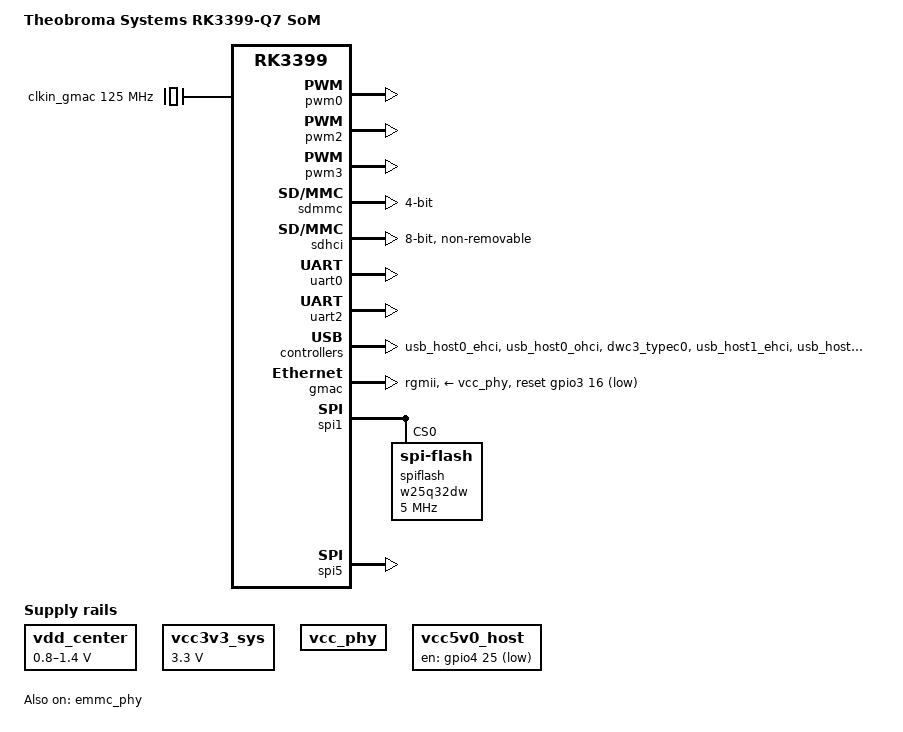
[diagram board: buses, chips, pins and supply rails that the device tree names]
/*
 * (C) Copyright 2017 Theobroma Systems Design und Consulting GmbH
 *
 * SPDX-License-Identifier:     GPL-2.0+	X11
 */

/dts-v1/;
#include <dt-bindings/pwm/pwm.h>
#include "rk3399.dtsi"
#include "rk3399-sdram-ddr3-1333.dtsi"

/ {
	model = "Theobroma Systems RK3399-Q7 SoM";
	compatible = "tsd,puma", "rockchip,rk3399";

	chosen {
		stdout-path = "serial0:115200n8";
		u-boot,spl-boot-order = &spiflash, &sdhci, &sdmmc;
	};

	aliases {
		spi0 = &spi1;
		spi1 = &spi5;
	};

	vdd_center: vdd-center {
		compatible = "pwm-regulator";
		pwms = <&pwm3 0 25000 0>;
		regulator-name = "vdd_center";
		regulator-min-microvolt = <800000>;
		regulator-max-microvolt = <1400000>;
		regulator-init-microvolt = <950000>;
		regulator-always-on;
		regulator-boot-on;
		status = "okay";
	};

	vcc3v3_sys: vcc3v3-sys {
		compatible = "regulator-fixed";
		regulator-name = "vcc3v3_sys";
		regulator-always-on;
		regulator-boot-on;
		regulator-min-microvolt = <3300000>;
		regulator-max-microvolt = <3300000>;
	};

	vcc_phy: vcc-phy-regulator {
		compatible = "regulator-fixed";
		regulator-name = "vcc_phy";
		regulator-always-on;
		regulator-boot-on;
	};

	vcc5v0_host: vcc5v0-host-en {
		compatible = "regulator-fixed";
		regulator-name = "vcc5v0_host";
		gpio = <&gpio4 25 GPIO_ACTIVE_HIGH>;
	};

	clkin_gmac: external-gmac-clock {
		compatible = "fixed-clock";
		clock-frequency = <125000000>;
		clock-output-names = "clkin_gmac";
		#clock-cells = <0>;
	};

	vcc_phy: vcc-phy-regulator {
		compatible = "regulator-fixed";
		regulator-name = "vcc_phy";
		regulator-always-on;
		regulator-boot-on;
	};
};

&emmc_phy {
	status = "okay";
};

&pwm0 {
	status = "okay";
};

&pwm2 {
	status = "okay";
};

&pwm3 {
	status = "okay";
};

&sdmmc {
        u-boot,dm-pre-reloc;
	bus-width = <4>;
	status = "okay";
};

&sdhci {
	bus-width = <8>;
	mmc-hs400-1_8v;
	mmc-hs400-enhanced-strobe;
	non-removable;
	status = "okay";
};

&uart0 {
	status = "okay";
};

&uart2 {
	status = "okay";
};

&usb_host0_ehci {
	status = "okay";
};

&usb_host0_ohci {
	status = "okay";
};

&dwc3_typec0 {
	status = "okay";
};

&usb_host1_ehci {
	status = "okay";
};

&usb_host1_ohci {
	status = "okay";
};

&dwc3_typec1 {
	status = "okay";
};

&pinctrl {
	pmic {
		pmic_int_l: pmic-int-l {
			rockchip,pins =
				<1 21 RK_FUNC_GPIO &pcfg_pull_up>;
		};

		pmic_dvs2: pmic-dvs2 {
			rockchip,pins =
				<1 18 RK_FUNC_GPIO &pcfg_pull_down>;
		};
	};
};

&gmac {
        phy-supply = <&vcc_phy>;
	phy-mode = "rgmii";
	clock_in_out = "input";
	snps,reset-gpio = <&gpio3 16 GPIO_ACTIVE_LOW>;
	snps,reset-active-low;
	snps,reset-delays-us = <0 10000 50000>;
	assigned-clocks = <&cru SCLK_RMII_SRC>;
	assigned-clock-parents = <&clkin_gmac>;
	pinctrl-names = "default";
	pinctrl-0 = <&rgmii_pins>;
	tx_delay = <0x10>;
	rx_delay = <0x10>;
	status = "okay";
};

&spi1 {
	u-boot,dm-pre-reloc;

	status = "okay";

	#address-cells = <1>;
	#size-cells = <0>;

	spiflash: w25q32dw@0 {
		u-boot,dm-pre-reloc;

		compatible = "spi-flash";
		reg = <0>;
		spi-max-frequency = <5000000>;
		spi-cpol;
		spi-cpha;
	};
};

&spi5 {
	status = "okay";
};
